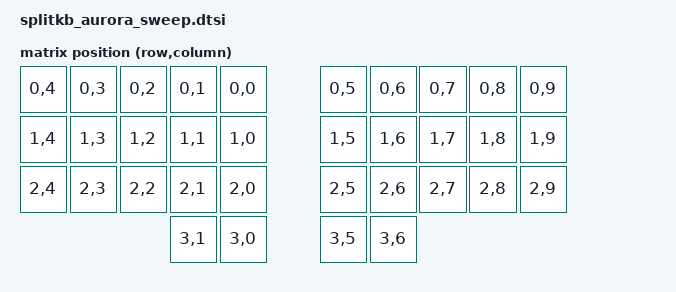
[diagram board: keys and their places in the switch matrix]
/*
 * Copyright (c) 2022 The ZMK Contributors
 *
 * SPDX-License-Identifier: MIT
 */

#include <dt-bindings/zmk/matrix_transform.h>

/ {

	chosen {
		zephyr,display = &oled;
		zmk,matrix_transform = &default_transform;
	};

	default_transform: keymap_transform_0 {
		compatible = "zmk,matrix-transform";
		columns = <10>;
		rows = <4>;
		map = <
		RC(0,4)  RC(0,3)  RC(0,2)  RC(0,1)  RC(0,0)  RC(0,5) RC(0,6) RC(0,7) RC(0,8) RC(0,9)
		RC(1,4)  RC(1,3)  RC(1,2)  RC(1,1)  RC(1,0)  RC(1,5) RC(1,6) RC(1,7) RC(1,8) RC(1,9)
		RC(2,4)  RC(2,3)  RC(2,2)  RC(2,1)  RC(2,0)  RC(2,5) RC(2,6) RC(2,7) RC(2,8) RC(2,9)
		                           RC(3,1)  RC(3,0)  RC(3,5) RC(3,6)
		>;
	};

	left_encoder1: left_encoder1 {
		compatible = "alps,ec11";
		label = "L_ENCODER1";
		resolution = <4>;
		status = "disabled";
	};

	left_encoder2: left_encoder2 {
		compatible = "alps,ec11";
		label = "L_ENCODER2";
		resolution = <4>;
		status = "disabled";
	};

	right_encoder1: right_encoder1 {
		compatible = "alps,ec11";
		label = "R_ENCODER1";
		resolution = <4>;
		status = "disabled";
	};

	right_encoder2: right_encoder2 {
		compatible = "alps,ec11";
		label = "R_ENCODER2";
		resolution = <4>;
		status = "disabled";
	};

	sensors {
		compatible = "zmk,keymap-sensors";
		sensors = <&left_encoder1 &right_encoder1>;
	};
};

&pro_micro_i2c {
	status = "okay";

	oled: ssd1306@3c {
		compatible = "solomon,ssd1306fb";
		reg = <0x3c>;
		label = "DISPLAY";
		width = <128>;
		height = <32>;
		segment-offset = <0>;
		page-offset = <0>;
		display-offset = <0>;
		multiplex-ratio = <31>;
		segment-remap;
		com-invdir;
		com-sequential;
		prechargep = <0x22>;
	};
};
